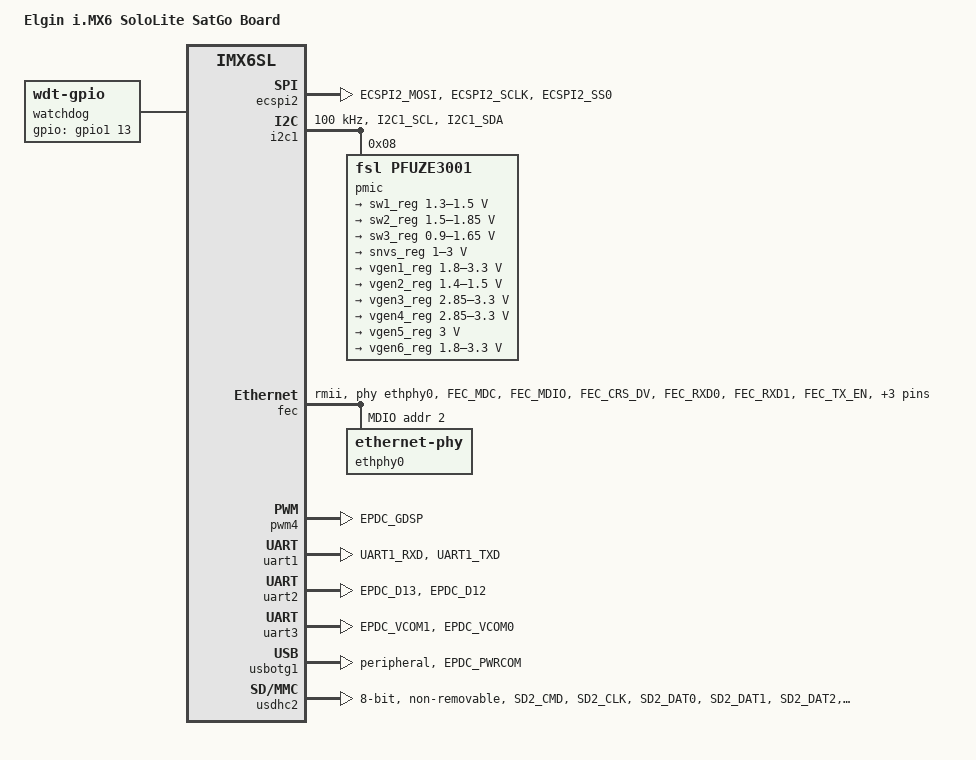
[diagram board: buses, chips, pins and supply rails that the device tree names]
// SPDX-License-Identifier: (GPL-2.0+ OR MIT)

/dts-v1/;

#include <dt-bindings/gpio/gpio.h>
#include "imx6sl.dtsi"

/ {
	model = "Elgin i.MX6 SoloLite SatGo Board";
	compatible = "elgin,imx6sl-satgo", "fsl,imx6sl";

	aliases {
		mmc0 = &usdhc2;
		usb0 = &usbotg1;
	};

	chosen {
		stdout-path = &uart1;
	};

	watchdog {
		compatible = "linux,wdt-gpio";
		gpios = <&gpio1 13 GPIO_ACTIVE_HIGH>;
		hw_algo = "level";
		hw_margin_ms = <1000>;
		always-running;
	};
};

&cpu0 {
	cpu-supply = <&sw1_reg>;
};

&ecspi2 {
	cs-gpios = <&gpio4 15 GPIO_ACTIVE_LOW>;
	pinctrl-names = "default";
	pinctrl-0 = <&pinctrl_ecspi2>;
	status = "okay";
};

&i2c1 {
	clock-frequency = <100000>;
	pinctrl-names = "default";
	pinctrl-0 = <&pinctrl_i2c1>;
	status = "okay";

	pmic@8 {
		compatible = "fsl,pfuze3001";
		reg = <0x08>;

		regulators {
			sw1_reg: sw1 {
				regulator-min-microvolt = <1300000>;
				regulator-max-microvolt = <1500000>;
				regulator-boot-on;
				regulator-always-on;
			};

			sw2_reg: sw2 {
				regulator-min-microvolt = <1500000>;
				regulator-max-microvolt = <1850000>;
				regulator-boot-on;
				regulator-always-on;
			};

			sw3_reg: sw3 {
				regulator-min-microvolt = <900000>;
				regulator-max-microvolt = <1650000>;
				regulator-boot-on;
				regulator-always-on;
			};

			snvs_reg: vsnvs {
				regulator-min-microvolt = <1000000>;
				regulator-max-microvolt = <3000000>;
				regulator-boot-on;
				regulator-always-on;
			};

			vgen1_reg: vldo1 {
				regulator-min-microvolt = <1800000>;
				regulator-max-microvolt = <3300000>;
				regulator-always-on;
			};

			vgen2_reg: vldo2 {
				regulator-min-microvolt = <1400000>;
				regulator-max-microvolt = <1500000>;
				regulator-always-on;
			};

			vgen3_reg: vccsd {
				regulator-min-microvolt = <2850000>;
				regulator-max-microvolt = <3300000>;
				regulator-always-on;
			};

			vgen4_reg: v33 {
				regulator-min-microvolt = <2850000>;
				regulator-max-microvolt = <3300000>;
				regulator-always-on;
			};

			vgen5_reg: vldo3 {
				regulator-min-microvolt = <3000000>;
				regulator-max-microvolt = <3000000>;
				regulator-always-on;
			};

			vgen6_reg: vldo4 {
				regulator-min-microvolt = <1800000>;
				regulator-max-microvolt = <3300000>;
				regulator-always-on;
			};
		};
	};
};

&fec {
	pinctrl-names = "default";
	pinctrl-0 = <&pinctrl_fec>;
	phy-mode = "rmii";
	phy-handle = <&ethphy0>;
	status = "okay";

	mdio {
		#address-cells = <1>;
		#size-cells = <0>;

		ethphy0: ethernet-phy@2 {
			reg = <2>;
		};
	};
};

&pwm4 {
	pinctrl-names = "default";
	pinctrl-0 = <&pinctrl_pwm4>;
	status = "okay";
};

&uart1 {
	pinctrl-names = "default";
	pinctrl-0 = <&pinctrl_uart1>;
	status = "okay";
};

&uart2 {
	pinctrl-names = "default";
	pinctrl-0 = <&pinctrl_uart2>;
	status = "okay";
};

&uart3 {
	pinctrl-names = "default";
	pinctrl-0 = <&pinctrl_uart3>;
	status = "okay";
};

&usbotg1 {
	pinctrl-names = "default";
	pinctrl-0 = <&pinctrl_usbotg1>;
	disable-over-current;
	dr_mode = "peripheral";
	status = "okay";
};

&usdhc2 {
	pinctrl-names = "default", "state_100mhz", "state_200mhz";
	pinctrl-0 = <&pinctrl_usdhc2>;
	pinctrl-1 = <&pinctrl_usdhc2_100mhz>;
	pinctrl-2 = <&pinctrl_usdhc2_200mhz>;
	bus-width = <8>;
	non-removable;
	status = "okay";
};

&iomuxc {
	pinctrl_uart1: uart1grp {
		fsl,pins = <
			MX6SL_PAD_UART1_RXD__UART1_RX_DATA	0x1b0b1
			MX6SL_PAD_UART1_TXD__UART1_TX_DATA	0x1b0b1
		>;
	};

	pinctrl_uart2: uart2grp {
		fsl,pins = <
			MX6SL_PAD_EPDC_D13__UART2_TX_DATA	0x1b0b1
			MX6SL_PAD_EPDC_D12__UART2_RX_DATA   	0x1b0b1
		>;
	};

	pinctrl_uart3: uart3grp {
		fsl,pins = <
			MX6SL_PAD_EPDC_VCOM1__UART3_TX_DATA	0x1b0b1
			MX6SL_PAD_EPDC_VCOM0__UART3_RX_DATA	0x1b0b1
		>;
	};

	pinctrl_usbotg1: usbotg1grp {
		fsl,pins = <
			MX6SL_PAD_EPDC_PWRCOM__USB_OTG1_ID	0x17059
		>;
	};

	pinctrl_ecspi2: ecspi2grp {
		fsl,pins = <
			MX6SL_PAD_ECSPI2_MOSI__ECSPI2_MOSI	0x100b1
			MX6SL_PAD_ECSPI2_SCLK__ECSPI2_SCLK	0x100b1
			MX6SL_PAD_ECSPI2_SS0__GPIO4_IO15	0x110b0
		>;
	};

	pinctrl_i2c1: i2c1grp {
		fsl,pins = <
			MX6SL_PAD_I2C1_SCL__I2C1_SCL		0x4001b8b1
			MX6SL_PAD_I2C1_SDA__I2C1_SDA		0x4001b8b1
		>;
	};

	pinctrl_fec: fecgrp {
		fsl,pins = <
			MX6SL_PAD_FEC_MDC__FEC_MDC		0x1b0b0
			MX6SL_PAD_FEC_MDIO__FEC_MDIO		0x1b0b0
			MX6SL_PAD_FEC_CRS_DV__FEC_RX_DV	0x1b0b0
			MX6SL_PAD_FEC_RXD0__FEC_RX_DATA0	0x1b0b0
			MX6SL_PAD_FEC_RXD1__FEC_RX_DATA1	0x1b0b0
			MX6SL_PAD_FEC_TX_EN__FEC_TX_EN	0x1b0b0
			MX6SL_PAD_FEC_TXD0__FEC_TX_DATA0	0x1b0b0
			MX6SL_PAD_FEC_TXD1__FEC_TX_DATA1	0x1b0b0
			MX6SL_PAD_FEC_REF_CLK__FEC_REF_OUT	0x4001b0a8
		>;
	};

	pinctrl_pwm4: pwm4grp {
		fsl,pins = <
			MX6SL_PAD_EPDC_GDSP__PWM4_OUT		0x1b0b1
		>;
	};

	pinctrl_usdhc2: usdhc2grp {
		fsl,pins = <
			MX6SL_PAD_SD2_CMD__SD2_CMD		0x17059
			MX6SL_PAD_SD2_CLK__SD2_CLK		0x10059
			MX6SL_PAD_SD2_DAT0__SD2_DATA0		0x17059
			MX6SL_PAD_SD2_DAT1__SD2_DATA1		0x17059
			MX6SL_PAD_SD2_DAT2__SD2_DATA2		0x17059
			MX6SL_PAD_SD2_DAT3__SD2_DATA3		0x17059
			MX6SL_PAD_SD2_DAT4__SD2_DATA4		0x17059
			MX6SL_PAD_SD2_DAT5__SD2_DATA5		0x17059
			MX6SL_PAD_SD2_DAT6__SD2_DATA6		0x17059
			MX6SL_PAD_SD2_DAT7__SD2_DATA7		0x17059
			MX6SL_PAD_SD2_RST__SD2_RESET		0x17059
		>;
	};

	pinctrl_usdhc2_100mhz: usdhc2grp100mhz {
		fsl,pins = <
			MX6SL_PAD_SD2_CMD__SD2_CMD		0x170b9
			MX6SL_PAD_SD2_CLK__SD2_CLK		0x100b9
			MX6SL_PAD_SD2_DAT0__SD2_DATA0		0x170b9
			MX6SL_PAD_SD2_DAT1__SD2_DATA1		0x170b9
			MX6SL_PAD_SD2_DAT2__SD2_DATA2		0x170b9
			MX6SL_PAD_SD2_DAT3__SD2_DATA3		0x170b9
			MX6SL_PAD_SD2_DAT4__SD2_DATA4		0x170b9
			MX6SL_PAD_SD2_DAT5__SD2_DATA5		0x170b9
			MX6SL_PAD_SD2_DAT6__SD2_DATA6		0x170b9
			MX6SL_PAD_SD2_DAT7__SD2_DATA7		0x170b9
			MX6SL_PAD_SD2_RST__SD2_RESET		0x170b9
		>;
	};

	pinctrl_usdhc2_200mhz: usdhc2grp200mhz {
		fsl,pins = <
			MX6SL_PAD_SD2_CMD__SD2_CMD		0x170f9
			MX6SL_PAD_SD2_CLK__SD2_CLK		0x100f9
			MX6SL_PAD_SD2_DAT0__SD2_DATA0		0x170f9
			MX6SL_PAD_SD2_DAT1__SD2_DATA1		0x170f9
			MX6SL_PAD_SD2_DAT2__SD2_DATA2		0x170f9
			MX6SL_PAD_SD2_DAT3__SD2_DATA3		0x170f9
			MX6SL_PAD_SD2_DAT4__SD2_DATA4		0x170f9
			MX6SL_PAD_SD2_DAT5__SD2_DATA5		0x170f9
			MX6SL_PAD_SD2_DAT6__SD2_DATA6		0x170f9
			MX6SL_PAD_SD2_DAT7__SD2_DATA7		0x170f9
			MX6SL_PAD_SD2_RST__SD2_RESET		0x170f9
		>;
	};
};
